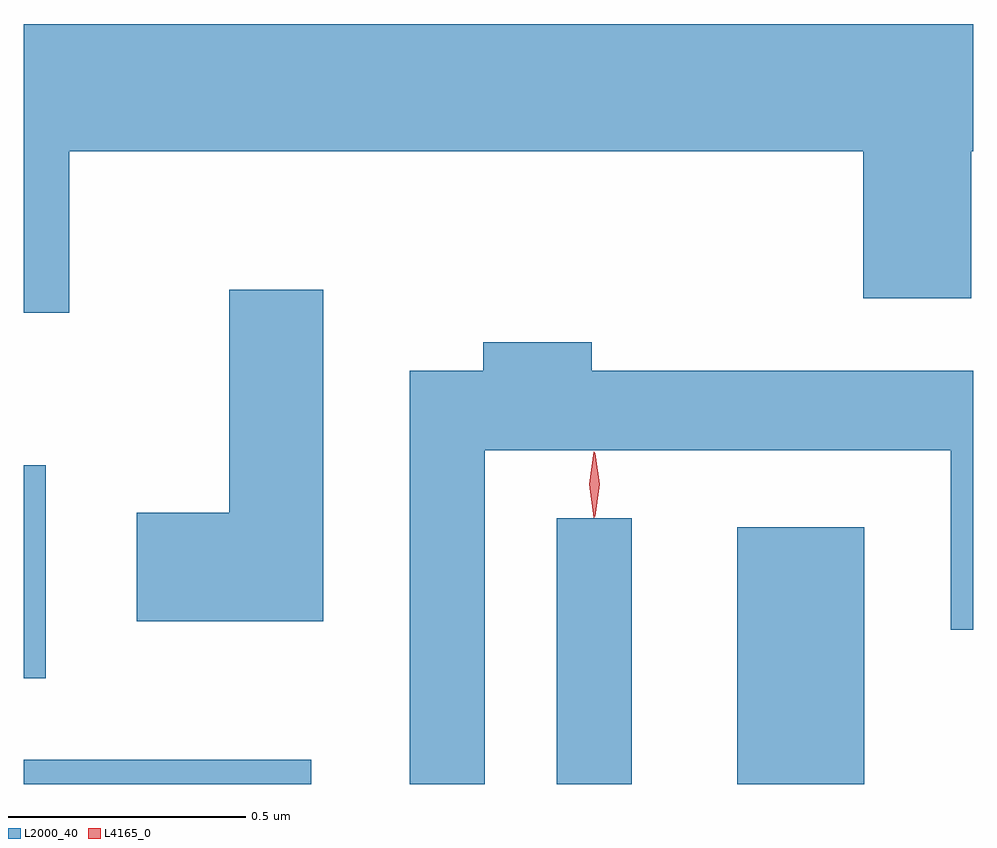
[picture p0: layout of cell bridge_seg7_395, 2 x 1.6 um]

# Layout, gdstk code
import gdstk
lib = gdstk.Library(unit=1e-6, precision=1e-09)
def R(c, l, rs):  # rectangles x0, y0, x1, y1
    for r in rs: c.add(gdstk.rectangle(r[:2], r[2:], *l))
def P(c, l, *ps):  # polygons
    for p in ps: c.add(gdstk.Polygon(p, *l))
L2000_40 = (2000, 40)
L4165_0 = (4165, 0)

bridge_seg7_395 = lib.new_cell('bridge_seg7_395')
R(bridge_seg7_395, L2000_40, [(1155.403,1746.283,1156.009,1746.334), (1156.526,1746.283,1156.684,1746.843), (1156.906,1746.283,1157.174,1746.824), (1155.403,1746.506,1155.449,1746.954)])
P(bridge_seg7_395, L2000_40, [(1155.499,1747.616),(1157.171,1747.616),(1157.171,1747.306),(1157.399,1747.306),(1157.399,1747.616),(1157.403,1747.616),(1157.403,1747.884),(1155.403,1747.884),(1155.403,1747.276),(1155.499,1747.276)],
  [(1156.034,1747.324),(1155.836,1747.324),(1155.836,1746.854),(1155.641,1746.854),(1155.641,1746.626),(1156.034,1746.626)],
  [(1156.374,1746.986),(1157.356,1746.986),(1157.356,1746.608),(1157.403,1746.608),(1157.403,1747.154),(1156.599,1747.154),(1156.599,1747.214),(1156.371,1747.214),(1156.371,1747.154),(1156.216,1747.154),(1156.216,1746.283),(1156.374,1746.283)])
P(bridge_seg7_395, L4165_0, [(1156.604,1746.844),(1156.604,1746.844),(1156.594,1746.914),(1156.604,1746.983),(1156.604,1746.983),(1156.605,1746.983),(1156.614,1746.914),(1156.605,1746.844)],
  [(1156.606,1746.847),(1156.606,1746.847),(1156.596,1746.914),(1156.606,1746.98),(1156.606,1746.981),(1156.607,1746.98),(1156.616,1746.914),(1156.607,1746.847)])

lib.write_gds('bridge_seg7_395.gds')
